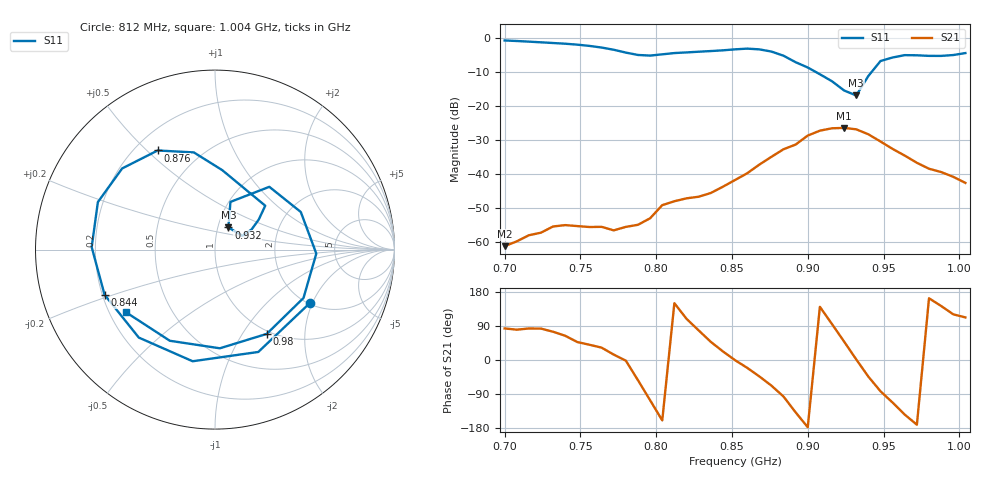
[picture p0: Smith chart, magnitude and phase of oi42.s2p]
# Hz S RI R 50
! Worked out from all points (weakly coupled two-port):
!   39 points, 700 MHz to 1.004 GHz, reference 50 ohm
!   highest |S21| = -26.36 dB at 924 MHz (marker M1); lowest = -61.1 dB at 700 MHz (marker M2)
!   lowest |S11| = -16.8 dB at 932 MHz (marker M3), VSWR 1.34, Z = 56.1 + j14.2 ohm
!   |S11| at or under -10 dB: 905.7 MHz to 942 MHz (36.31 MHz wide, 3.93 % of centre)
!   S12 and S22 are empty: the file has one direction only
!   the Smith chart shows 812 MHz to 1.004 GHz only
!   S11 on the Smith chart (normalised r, x): 812 MHz: 2.03, -1.91; 844 MHz: 0.21, -0.19; 876 MHz: 0.29, +0.54; 932 MHz: 1.12, +0.28; 980 MHz: 0.96, -1.29; 1.004 GHz: 0.27, -0.30
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7e8  0.7598 0.5338  0.000103 0.000872  0 0  0 0
7.24e8  0.8338 -0.2548  0.000173 0.00138  0 0  0 0
7.4e8  0.4455 -0.7023  0.000788 0.00161  0 0  0 0
7.56e8  -0.1923 -0.7477  0.00128 0.00108  0 0  0 0
7.72e8  -0.6498 -0.1936  0.00145 0.000369  0 0  0 0
7.8e8  -0.573 0.225  0.00169 -5.42e-05  0 0  0 0
7.88e8  -0.2249 0.5217  0.00108 -0.00145  0 0  0 0
7.96e8  0.2557 0.4941  -0.00063 -0.00217  0 0  0 0
8.04e8  0.5635 0.1388  -0.00329 -0.00124  0 0  0 0
8.12e8  0.5276 -0.2985  -0.00348 0.00201  0 0  0 0
8.28e8  -0.1246 -0.622  0.000957 0.00458  0 0  0 0
8.44e8  -0.6153 -0.2515  0.00605 0.00254  0 0  0 0
8.52e8  -0.687 0.0138  0.00824 -5.33e-05  0 0  0 0
8.76e8  -0.3193 0.5523  0.00689 -0.0167  0 0  0 0
9e8  0.28 0.2446  -0.0371 -0.00171  0 0  0 0
9.08e8  0.2438 0.1674  -0.0337 0.028  0 0  0 0
9.24e8  0.1522 0.0771  0.0319 0.036  0 0  0 0
9.32e8  0.0744 0.1235  0.0459 0.00113  0 0  0 0
9.48e8  0.3027 0.3498  0.00392 -0.0301  0 0  0 0
9.56e8  0.4779 0.2097  -0.00899 -0.0218  0 0  0 0
9.8e8  0.2882 -0.4696  -0.0115 0.00354  0 0  0 0
1.004e9  -0.4947 -0.3498  -0.00285 0.00691  0 0  0 0
